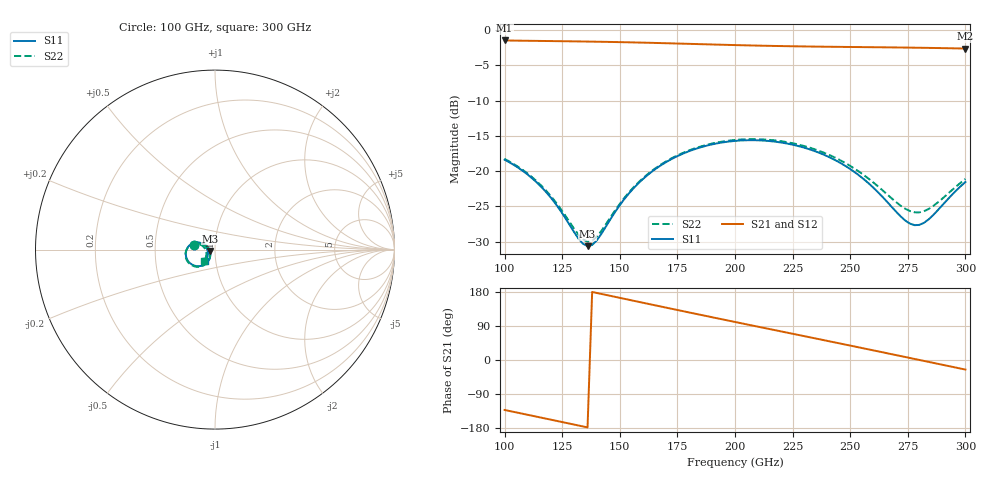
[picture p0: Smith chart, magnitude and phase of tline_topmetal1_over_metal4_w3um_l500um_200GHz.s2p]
#  GHZ S DB R 50
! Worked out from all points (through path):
!   101 points, 100 GHz to 300 GHz, reference 50 ohm
!   highest |S21| = -1.46 dB at 100 GHz (marker M1); lowest = -2.6 dB at 300 GHz (marker M2)
!   group delay of S21, straight-line fit = 3.51 ps
!   lowest |S11| = -30.7 dB at 136 GHz (marker M3), VSWR 1.06, Z = 47.2 - j0.692 ohm
!   |S11| at or under -10 dB: start of sweep to end of sweep
!   |S22| runs from -30.0 to -15.5 dB; largest |S21 - S12| = 8.6e-14
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100  -18.38 166.4  -1.46 -131.9  -1.46 -131.9  -18.27 168.1
108  -19.99 159.2  -1.49 -142.1  -1.49 -142.1  -19.86 161.1
116  -22.27 154.3  -1.53 -152.2  -1.53 -152.2  -22.09 156.6
122  -24.58 154.1  -1.55 -159.9  -1.55 -159.9  -24.33 156.8
134  -30.31 -176.9  -1.60 -175.3  -1.60 -175.3  -29.69 -175.1
136  -30.65 -165.5  -1.61 -177.9  -1.61 -177.9  -30.01 -164.6
140  -29.83 -143.6  -1.63 176.9  -1.63 176.9  -29.32 -144.0
150  -24.83 -121.3  -1.69 164.0  -1.69 164.0  -24.64 -121.5
156  -22.42 -120.6  -1.74 156.3  -1.74 156.3  -22.29 -120.3
168  -19.14 -127.7  -1.83 140.9  -1.83 140.9  -19.03 -126.7
184  -16.73 -142.4  -1.97 120.5  -1.97 120.5  -16.62 -140.7
200  -15.71 -158.6  -2.11 100.4  -2.11 100.4  -15.58 -156.4
216  -15.77 -174.7  -2.23 80.4  -2.23 80.4  -15.60 -171.9
234  -17.09 168.5  -2.32 58.0  -2.32 58.0  -16.83 172.3
244  -18.53 160.7  -2.36 45.6  -2.36 45.6  -18.18 165.3
252  -20.16 156.3  -2.39 35.5  -2.39 35.5  -19.67 161.6
260  -22.33 155.2  -2.42 25.5  -2.42 25.5  -21.60 161.3
268  -25.07 161.2  -2.44 15.4  -2.44 15.4  -23.87 167.3
274  -27.04 174.9  -2.47 7.8  -2.47 7.8  -25.36 178.7
280  -27.63 -163.5  -2.49 0.1  -2.49 0.1  -25.86 -164.6
286  -26.25 -144.6  -2.52 -7.5  -2.52 -7.5  -24.96 -149.1
300  -21.55 -131.8  -2.61 -25.2  -2.61 -25.2  -21.11 -135.4
